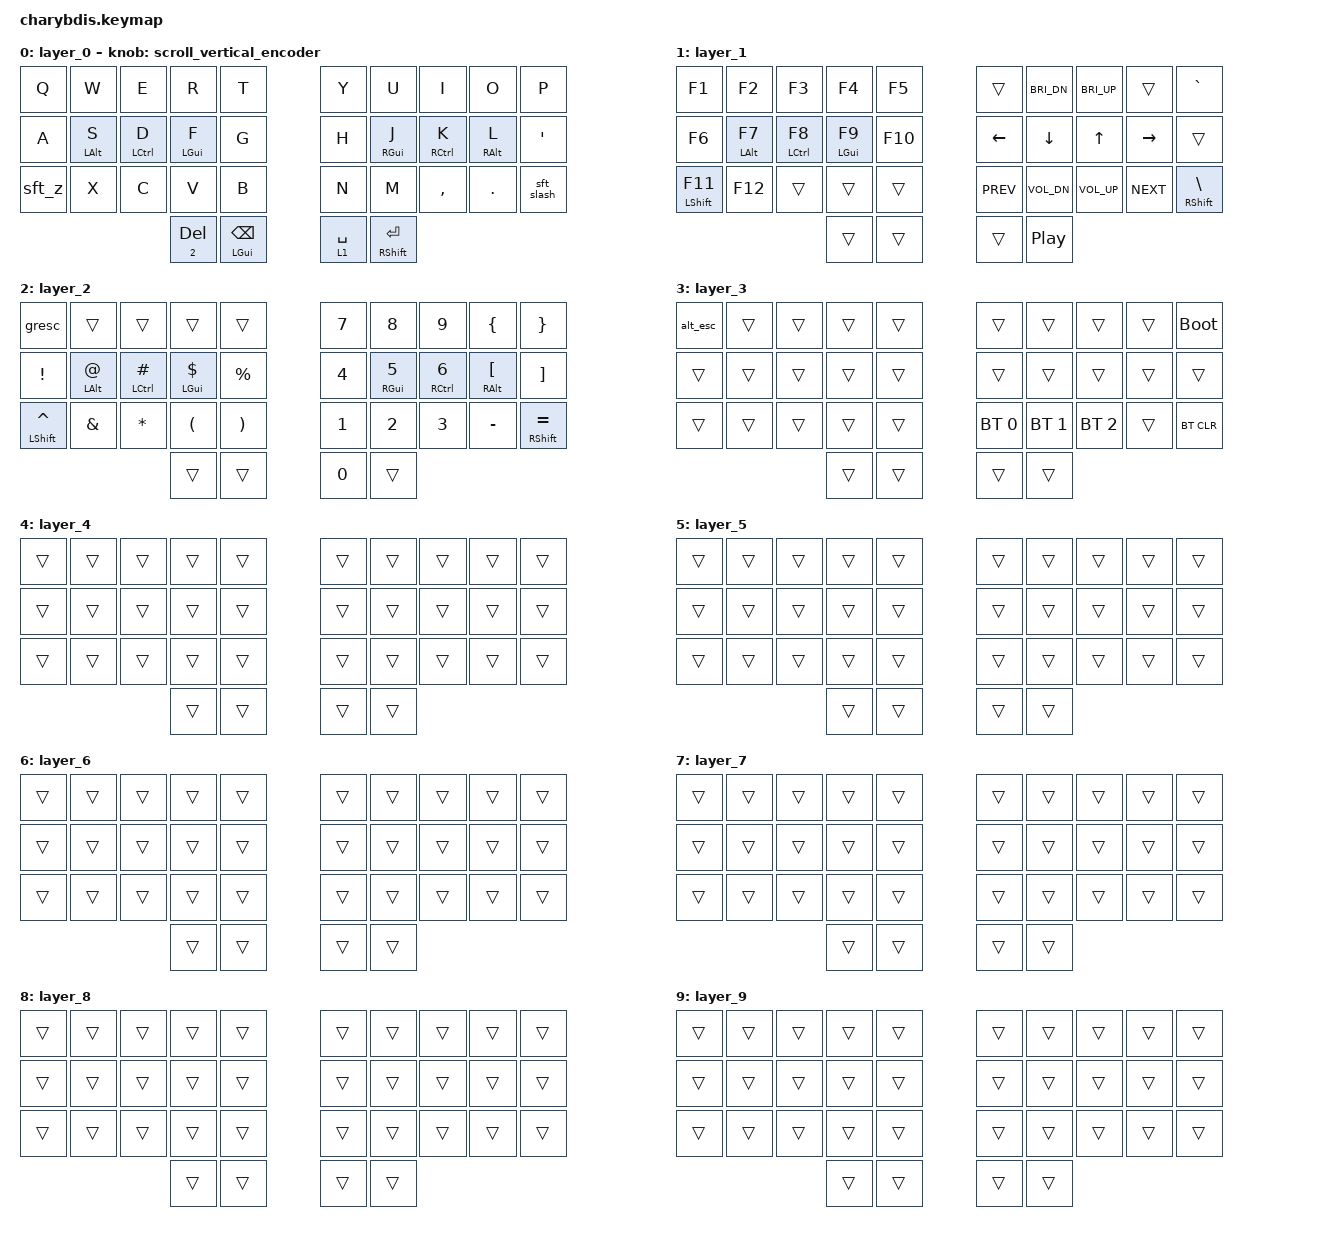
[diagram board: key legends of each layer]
#include <dt-bindings/zmk/mouse.h>
#include <input/processors.dtsi>
#include <zephyr/dt-bindings/input/input-event-codes.h>
#include <behaviors.dtsi>
#include <dt-bindings/zmk/bt.h>
#include <dt-bindings/zmk/keys.h>
#include <dt-bindings/zmk/pointing.h>

#define ZMK_POINTING_DEFAULT_MOVE_VAL 1000 // 600
#define ZMK_POINTING_DEFAULT_SCRL_VAL 12   // 10

// Key positions in the 34-key layout, for positional hold-tap.
#define KEYS_L 0 1 2 3 4 10 11 12 13 14 20 21 22 23 24
#define KEYS_R 5 6 7 8 9 15 16 17 18 19 25 26 27 28 29
#define THUMBS 30 31 32 33

&lt {
    tapping-term-ms = <200>;
    flavor = "balanced";
    quick-tap-ms = <150>;
};

&mmv_input_listener { input-processors = <&zip_xy_scaler 2 1>; };

&msc_input_listener { input-processors = <&zip_scroll_scaler 2 1>; };

&msc {
    acceleration-exponent = <0>;      // 0
    time-to-max-speed-ms = <100>;       // 300
    delay-ms = <0>;                   // 0
};

&mmv {
    time-to-max-speed-ms = <500>;
    acceleration-exponent = <1>;
    trigger-period-ms = <16>;
};

/ {
    // 上下滚动编码器行为

    scroll_vertical_encoder: scroll_vertical_encoder {
        compatible = "zmk,behavior-sensor-rotate";
        #sensor-binding-cells = <0>;
        bindings = <&msc SCRL_DOWN>, <&msc SCRL_UP>;

        tap-ms = <100>;
    };

    // 左右滚动编码器行为

    scroll_horizontal_encoder: scroll_horizontal_encoder {
        compatible = "zmk,behavior-sensor-rotate";
        #sensor-binding-cells = <0>;
        bindings = <&msc SCRL_LEFT>, <&msc SCRL_RIGHT>;

        tap-ms = <100>;
    };

    behaviors {
        // Home row mods tuned against misfires while typing fast:
        // - require-prior-idle-ms: a key pressed within 150 ms of the previous key is always a tap.
        // - hold-trigger-key-positions: a hold only resolves when the next key is on the
        //   other hand (or a thumb), so same-hand rolls like "as" or "df" stay letters.
        // - hold-trigger-on-release: lets you stack several same-hand mods (e.g. Ctrl+Shift).
        hml: home_row_mod_left {
            compatible = "zmk,behavior-hold-tap";
            display-name = "Home Row Mod Left";
            #binding-cells = <2>;
            bindings = <&kp>, <&kp>;
            flavor = "balanced";
            tapping-term-ms = <280>;
            quick-tap-ms = <175>;
            require-prior-idle-ms = <150>;
            hold-trigger-key-positions = <KEYS_R THUMBS>;
            hold-trigger-on-release;
        };

        hmr: home_row_mod_right {
            compatible = "zmk,behavior-hold-tap";
            display-name = "Home Row Mod Right";
            #binding-cells = <2>;
            bindings = <&kp>, <&kp>;
            flavor = "balanced";
            tapping-term-ms = <280>;
            quick-tap-ms = <175>;
            require-prior-idle-ms = <150>;
            hold-trigger-key-positions = <KEYS_L THUMBS>;
            hold-trigger-on-release;
        };

        // Shift on Z and / (layer 0): Shift goes down the moment Z or / is pressed
        // (hold-while-undecided), so Shift+click and Shift+scroll need no wait.
        // Another key pressed while Z or / is held gets Shift, from either hand,
        // with no timing rule. The key's own character types only on a quick tap:
        // released alone within 200 ms, Shift is released and z or / is typed.
        // Held alone past 200 ms it stays Shift and types nothing on release.
        // ponytail: a tap sends a lone Shift press before the letter, and a
        // Shift+click shorter than 200 ms still types z or / on release (the
        // board cannot see mouse clicks). Any overlap gives Shift, so z or /
        // rolled into the next key (size, amazon, /giphy) capitalizes that key.
        sft: shift_mod {
            compatible = "zmk,behavior-hold-tap";
            display-name = "Shift Mod (hold-preferred)";
            #binding-cells = <2>;
            bindings = <&kp>, <&kp>;
            flavor = "hold-preferred";
            tapping-term-ms = <200>;
            hold-while-undecided;
        };

        // Z and / on layer 0. A hold-tap sends its character only on release, so
        // with another Shift already held (thumb, Z or /) a ? or Z came out
        // unshifted whenever that Shift was released first. When Shift is already
        // held at press, these send the plain key at once, with Shift kept;
        // otherwise they are the sft Shift hold-tap. One instance per key, since a
        // mod-morph cannot be pressed twice at once.
        sft_z: shift_mod_z_morph {
            compatible = "zmk,behavior-mod-morph";
            display-name = "Z / Shift";
            #binding-cells = <0>;
            bindings = <&sft LSHIFT Z>, <&kp Z>;
            mods = <(MOD_LSFT|MOD_RSFT)>;
            keep-mods = <(MOD_LSFT|MOD_RSFT)>;
        };

        sft_slash: shift_mod_slash_morph {
            compatible = "zmk,behavior-mod-morph";
            display-name = "/ / Shift";
            #binding-cells = <0>;
            bindings = <&sft RSHIFT SLASH>, <&kp SLASH>;
            mods = <(MOD_LSFT|MOD_RSFT)>;
            keep-mods = <(MOD_LSFT|MOD_RSFT)>;
        };

        // Right thumb Enter/Shift (layer 0): the stock &mt settings plus retro-tap.
        // Enter held alone past 200 ms and released with no other key still sends
        // Enter. Any key pressed during the hold gives Shift and cancels the Enter.
        // ponytail: with retro-tap, ZMK presses Shift only when another key goes
        // down, never on the timer, so Shift+click and Shift+scroll need Z or /.
        // Clicking during the hold, then releasing, sends Enter.
        mt_enter: mod_tap_retro_enter {
            compatible = "zmk,behavior-hold-tap";
            display-name = "Mod-Tap (retro-tap)";
            #binding-cells = <2>;
            bindings = <&kp>, <&kp>;
            flavor = "hold-preferred";
            tapping-term-ms = <200>;
            retro-tap;
        };

        // Home row mods on L2, hold-preferred: the mod engages as soon as
        // the next key goes down, so GUI+number fires right away.
        // No hold-trigger-key-positions: hold-preferred decides on that key-down,
        // before hold-trigger-on-release records a position, and checking positions
        // on key-down would block same-hand stacking (# Ctrl + ^ Shift).
        // So one behavior serves both hands. require-prior-idle-ms still makes a
        // key pressed within 150 ms of the previous key a plain tap, because L2
        // symbols are typed in quick runs.
        hmhp: home_row_mod_hold_preferred {
            compatible = "zmk,behavior-hold-tap";
            display-name = "Home Row Mod (hold-preferred)";
            #binding-cells = <2>;
            bindings = <&kp>, <&kp>;
            flavor = "hold-preferred";
            tapping-term-ms = <280>;
            quick-tap-ms = <175>;
            require-prior-idle-ms = <150>;
        };

        // Mods on L1 (F-key / arrow layer): hmhp without require-prior-idle-ms or
        // quick-tap-ms. F-keys are rarely typed in runs, and both settings forced a
        // tap (F7 instead of Alt) on Alt+arrow pressed soon after another key, such
        // as a second Alt+Left or Alt right after typing s.
        hmnav: home_row_mod_nav {
            compatible = "zmk,behavior-hold-tap";
            display-name = "Nav Layer Mod (hold-preferred)";
            #binding-cells = <2>;
            bindings = <&kp>, <&kp>;
            flavor = "hold-preferred";
            tapping-term-ms = <280>;
        };

        // Alt+Esc that hides a held Ctrl, so it stays Alt+Esc after the L2
        // Ctrl+Tab combos.
        alt_esc: alt_esc {
            compatible = "zmk,behavior-mod-morph";
            display-name = "Alt+Esc (no Ctrl)";
            #binding-cells = <0>;
            bindings = <&kp LA(ESC)>, <&kp LA(ESC)>;
            mods = <(MOD_LCTL|MOD_RCTL)>;
        };

        // L2 layer-tap for Del. Same timing as &lt. Releasing it also
        // releases the Ctrl that the L2 Ctrl+Tab combos press.
        lt_ctrl: layer_tap_release_ctrl {
            compatible = "zmk,behavior-hold-tap";
            display-name = "Layer-Tap (releases Ctrl)";
            #binding-cells = <2>;
            bindings = <&mo_release_ctrl>, <&kp>;
            flavor = "balanced";
            tapping-term-ms = <200>;
            quick-tap-ms = <150>;
            // Del held alone past 200 ms and released with no other key still
            // sends Delete. Any key (or L2 chord) pressed during the hold cancels it.
            retro-tap;
        };

        // ponytail: releases LCTRL unconditionally. With no Ctrl held it is a no-op,
        // but a home-row Ctrl (D) held across the L2 release drops early.
        mo_release_ctrl: momentary_layer_release_ctrl {
            compatible = "zmk,behavior-macro-one-param";
            display-name = "Layer, then release Ctrl";
            #binding-cells = <1>;
            wait-ms = <0>;
            tap-ms = <0>;
            bindings
                = <&macro_param_1to1 &macro_press &mo MACRO_PLACEHOLDER>
                , <&macro_pause_for_release>
                , <&macro_param_1to1 &macro_release &mo MACRO_PLACEHOLDER &kp LCTRL>
                ;
        };

        // Presses Ctrl (left held) and taps the given key.
        ctrl_then_tap: press_ctrl_then_tap {
            compatible = "zmk,behavior-macro-one-param";
            display-name = "Hold Ctrl, tap key";
            #binding-cells = <1>;
            bindings
                = <&macro_press &kp LCTRL>
                , <&macro_param_1to1 &macro_tap &kp MACRO_PLACEHOLDER>
                ;
        };

        // First press holds Ctrl and taps Tab. While Ctrl is held, later presses
        // only tap Tab, so Ctrl stays down until the L2 key is released.
        ctrl_tab: ctrl_tab_cycle {
            compatible = "zmk,behavior-mod-morph";
            display-name = "Ctrl+Tab (holds Ctrl)";
            #binding-cells = <0>;
            bindings = <&ctrl_then_tap TAB>, <&kp TAB>;
            mods = <(MOD_LCTL|MOD_RCTL)>;
            keep-mods = <(MOD_LCTL|MOD_RCTL)>;
        };

        ctrl_shift_tab: ctrl_shift_tab_cycle {
            compatible = "zmk,behavior-mod-morph";
            display-name = "Ctrl+Shift+Tab (holds Ctrl)";
            #binding-cells = <0>;
            bindings = <&ctrl_then_tap LS(TAB)>, <&kp LS(TAB)>;
            mods = <(MOD_LCTL|MOD_RCTL)>;
            keep-mods = <(MOD_LCTL|MOD_RCTL)>;
        };
    };

    combos {
        compatible = "zmk,combos";

        // Hold both right thumb keys (Space/L1 and Enter/Shift) together for layer 3
        // (Bluetooth, bootloader). Press them within 50 ms of each other.
        // require-prior-idle-ms: a Space-then-Shift roll while typing never fires it.
        right_thumbs_layer: right_thumbs_layer {
            key-positions = <32 33>;
            bindings = <&mo 3>;
            require-prior-idle-ms = <150>;
        };

        // Q+W together for Tab. No English word contains "qw", so typing never
        // triggers it. No require-prior-idle-ms: Tab right after typing must work.
        // 100 ms window from the first key (default 50), the same as the L2 chords.
        // Typing "we" still types normally, but w shows up when you release W,
        // not after 50 ms.
        // ponytail: lists every layer with bindings except L2; add new layers here.
        tab_combo: tab_combo {
            key-positions = <0 1>;
            bindings = <&kp TAB>;
            layers = <0 1 3>;
            timeout-ms = <100>;
        };

        // Q+W+E together for Shift+Tab, on the same layers as tab_combo.
        // Q+W waits up to 100 ms after the first key for E before sending Tab.
        shift_tab_combo: shift_tab_combo {
            key-positions = <0 1 2>;
            bindings = <&kp LS(TAB)>;
            layers = <0 1 3>;
            timeout-ms = <100>;
        };

        // Hold Del (L2), then Q+W for Ctrl+Tab or Q+W+E for Ctrl+Shift+Tab.
        // Ctrl stays held until Del is released.
        // The L2 chords get a 100 ms window from the first key (default 50), so
        // the keys can land further apart. Releasing the keys fires the chord at
        // once; only a chord still held waits out the window for more keys.
        ctrl_tab_combo: ctrl_tab_combo {
            key-positions = <0 1>;
            bindings = <&ctrl_tab>;
            layers = <2>;
            timeout-ms = <100>;
        };

        ctrl_shift_tab_combo: ctrl_shift_tab_combo {
            key-positions = <0 1 2>;
            bindings = <&ctrl_shift_tab>;
            layers = <2>;
            timeout-ms = <100>;
        };

        // Hold Del (L2), then Q+W+E+R for Alt+Esc.
        alt_esc_combo: alt_esc_combo {
            key-positions = <0 1 2 3>;
            bindings = <&alt_esc>;
            layers = <2>;
            timeout-ms = <100>;
        };

        // L+' together for ; (thumb Shift + L+' for :). The base key is '.
        // Order does not matter. The 30 ms window, shorter than the 50 ms
        // default, is meant to keep "'ll" rolls (I'll, we'll) as letters.
        // No require-prior-idle-ms: ; right after typing, as in "foo();", must work.
        // Layer 0 only: on layer 2 these keys are [ and ].
        semicolon_combo: semicolon_combo {
            key-positions = <18 19>;
            bindings = <&kp SEMI>;
            layers = <0>;
            timeout-ms = <30>;
        };
    };

    keymap {
        compatible = "zmk,keymap";

        layer_0 {
            bindings = <
&kp Q           &kp W         &kp E           &kp R           &kp T    &kp Y        &kp U           &kp I           &kp O          &kp P
&kp A           &hml LALT S   &hml LCTRL D    &hml LGUI F     &kp G    &kp H        &hmr RGUI J     &hmr RCTRL K    &hmr RALT L    &kp SQT
&sft_z          &kp X         &kp C           &kp V           &kp B    &kp N        &kp M           &kp COMMA       &kp DOT        &sft_slash
                                              &lt_ctrl 2 DEL  &mt LGUI BSPC     &lt 1 SPACE  &mt_enter RSHIFT ENTER
            >;

            sensor-bindings = <&scroll_vertical_encoder>;

            // 编码器1：上下滚动,,
        };

        layer_1 {
            bindings = <
&kp F1   &kp F2   &kp F3  &kp F4  &kp F5     &trans     &kp C_BRI_DN  &kp C_BRI_UP  &trans      &kp GRAVE
&kp F6          &hmnav LALT F7  &hmnav LCTRL F8  &hmnav LGUI F9  &kp F10    &kp LEFT   &kp DOWN  &kp UP  &kp RIGHT  &trans
&hmnav LSHIFT F11  &kp F12  &trans  &trans  &trans     &kp C_PREV &kp K_VOL_DN  &kp K_VOL_UP  &kp C_NEXT  &hmnav RSHIFT BSLH
                          &trans  &trans     &trans     &kp C_PP
            >;
        };

        layer_2 {
            bindings = <
&gresc     &trans   &trans    &trans     &trans       &kp N7  &kp N8  &kp N9  &kp LBRC   &kp RBRC
&kp EXCL          &hmhp LALT AT  &hmhp LCTRL HASH  &hmhp LGUI DLLR  &kp PRCNT    &kp N4  &hmhp RGUI N5  &hmhp RCTRL N6  &hmhp RALT LBKT  &kp RBKT
&hmhp LSHIFT CARET  &kp AMPS &kp ASTRK &kp LPAR   &kp RPAR     &kp N1  &kp N2  &kp N3  &kp MINUS  &hmhp RSHIFT EQUAL
                           &trans   &trans     &kp N0  &trans
            >;
        };

        layer_3 {
            bindings = <
&alt_esc     &trans  &trans  &trans  &trans    &trans         &trans         &trans         &trans  &bootloader
&trans       &trans  &trans  &trans  &trans    &trans         &trans         &trans         &trans  &trans
&trans       &trans  &trans  &trans  &trans    &bt BT_SEL 0   &bt BT_SEL 1   &bt BT_SEL 2   &trans  &bt BT_CLR
                        &trans  &trans    &trans         &trans
            >;
        };

        layer_4 {
            bindings = <
&trans  &trans  &trans  &trans  &trans    &trans  &trans  &trans  &trans  &trans
&trans  &trans  &trans  &trans  &trans    &trans  &trans  &trans  &trans  &trans
&trans  &trans  &trans  &trans  &trans    &trans  &trans  &trans  &trans  &trans
                        &trans  &trans    &trans  &trans
            >;
        };

        layer_5 {
            bindings = <
&trans  &trans  &trans  &trans  &trans    &trans  &trans  &trans  &trans  &trans
&trans  &trans  &trans  &trans  &trans    &trans  &trans  &trans  &trans  &trans
&trans  &trans  &trans  &trans  &trans    &trans  &trans  &trans  &trans  &trans
                        &trans  &trans    &trans  &trans
            >;
        };

        layer_6 {
            bindings = <
&trans  &trans  &trans  &trans  &trans    &trans  &trans  &trans  &trans  &trans
&trans  &trans  &trans  &trans  &trans    &trans  &trans  &trans  &trans  &trans
&trans  &trans  &trans  &trans  &trans    &trans  &trans  &trans  &trans  &trans
                        &trans  &trans    &trans  &trans
            >;
        };

        layer_7 {
            bindings = <
&trans  &trans  &trans  &trans  &trans    &trans  &trans  &trans  &trans  &trans
&trans  &trans  &trans  &trans  &trans    &trans  &trans  &trans  &trans  &trans
&trans  &trans  &trans  &trans  &trans    &trans  &trans  &trans  &trans  &trans
                        &trans  &trans    &trans  &trans
            >;
        };

        layer_8 {
            bindings = <
&trans  &trans  &trans  &trans  &trans    &trans  &trans  &trans  &trans  &trans
&trans  &trans  &trans  &trans  &trans    &trans  &trans  &trans  &trans  &trans
&trans  &trans  &trans  &trans  &trans    &trans  &trans  &trans  &trans  &trans
                        &trans  &trans    &trans  &trans
            >;
        };

        layer_9 {
            bindings = <
&trans  &trans  &trans  &trans  &trans    &trans  &trans  &trans  &trans  &trans
&trans  &trans  &trans  &trans  &trans    &trans  &trans  &trans  &trans  &trans
&trans  &trans  &trans  &trans  &trans    &trans  &trans  &trans  &trans  &trans
                        &trans  &trans    &trans  &trans
            >;
        };
    };
};
